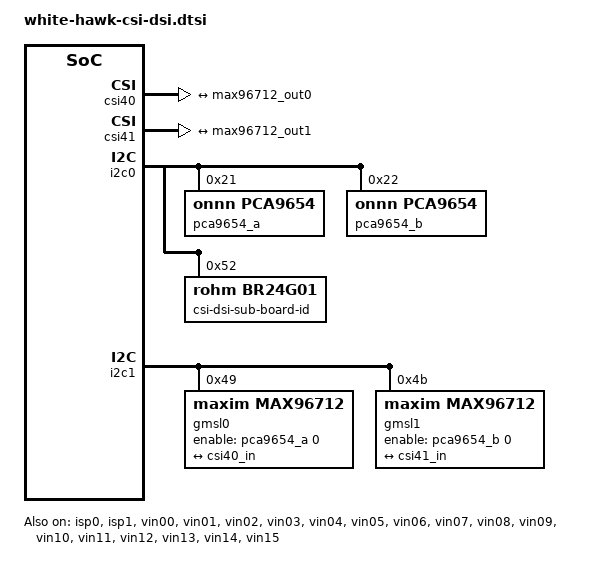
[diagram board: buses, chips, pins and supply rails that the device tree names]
// SPDX-License-Identifier: (GPL-2.0-only OR BSD-2-Clause)
/*
 * Device Tree Source for the White Hawk CSI/DSI sub-board
 *
 * Copyright (C) 2022 Glider bv
 */

#include <dt-bindings/media/video-interfaces.h>

&csi40 {
	status = "okay";

	ports {
		#address-cells = <1>;
		#size-cells = <0>;

		port@0 {
			reg = <0>;

			csi40_in: endpoint {
				bus-type = <MEDIA_BUS_TYPE_CSI2_CPHY>;
				clock-lanes = <0>;
				data-lanes = <1 2 3>;
				line-orders = <0 3 0>;
				remote-endpoint = <&max96712_out0>;
			};
		};
	};
};

&csi41 {
	status = "okay";

	ports {
		#address-cells = <1>;
		#size-cells = <0>;

		port@0 {
			reg = <0>;

			csi41_in: endpoint {
				bus-type = <MEDIA_BUS_TYPE_CSI2_CPHY>;
				clock-lanes = <0>;
				data-lanes = <1 2 3>;
				line-orders = <0 3 0>;
				remote-endpoint = <&max96712_out1>;
			};
		};
	};
};

&i2c0 {
	pca9654_a: gpio@21 {
		compatible = "onnn,pca9654";
		reg = <0x21>;
		gpio-controller;
		#gpio-cells = <2>;
	};

	pca9654_b: gpio@22 {
		compatible = "onnn,pca9654";
		reg = <0x22>;
		gpio-controller;
		#gpio-cells = <2>;
	};

	eeprom@52 {
		compatible = "rohm,br24g01", "atmel,24c01";
		label = "csi-dsi-sub-board-id";
		reg = <0x52>;
		pagesize = <8>;
	};
};

&i2c1 {
	gmsl0: gmsl-deserializer@49 {
		compatible = "maxim,max96712";
		reg = <0x49>;
		enable-gpios = <&pca9654_a 0 GPIO_ACTIVE_HIGH>;

		ports {
			#address-cells = <1>;
			#size-cells = <0>;

			port@4 {
				reg = <4>;
				max96712_out0: endpoint {
					bus-type = <MEDIA_BUS_TYPE_CSI2_CPHY>;
					clock-lanes = <0>;
					data-lanes = <1 2 3>;
					remote-endpoint = <&csi40_in>;
				};
			};
		};
	};

	gmsl1: gmsl-deserializer@4b {
		compatible = "maxim,max96712";
		reg = <0x4b>;
		enable-gpios = <&pca9654_b 0 GPIO_ACTIVE_HIGH>;

		ports {
			#address-cells = <1>;
			#size-cells = <0>;

			port@4 {
				reg = <4>;
				max96712_out1: endpoint {
					bus-type = <MEDIA_BUS_TYPE_CSI2_CPHY>;
					clock-lanes = <0>;
					data-lanes = <1 2 3>;
					remote-endpoint = <&csi41_in>;
				};
			};
		};
	};
};

&isp0 {
	status = "okay";
};

&isp1 {
	status = "okay";
};

&vin00 {
	status = "okay";
};

&vin01 {
	status = "okay";
};

&vin02 {
	status = "okay";
};

&vin03 {
	status = "okay";
};

&vin04 {
	status = "okay";
};

&vin05 {
	status = "okay";
};

&vin06 {
	status = "okay";
};

&vin07 {
	status = "okay";
};

&vin08 {
	status = "okay";
};

&vin09 {
	status = "okay";
};

&vin10 {
	status = "okay";
};

&vin11 {
	status = "okay";
};

&vin12 {
	status = "okay";
};

&vin13 {
	status = "okay";
};

&vin14 {
	status = "okay";
};

&vin15 {
	status = "okay";
};
